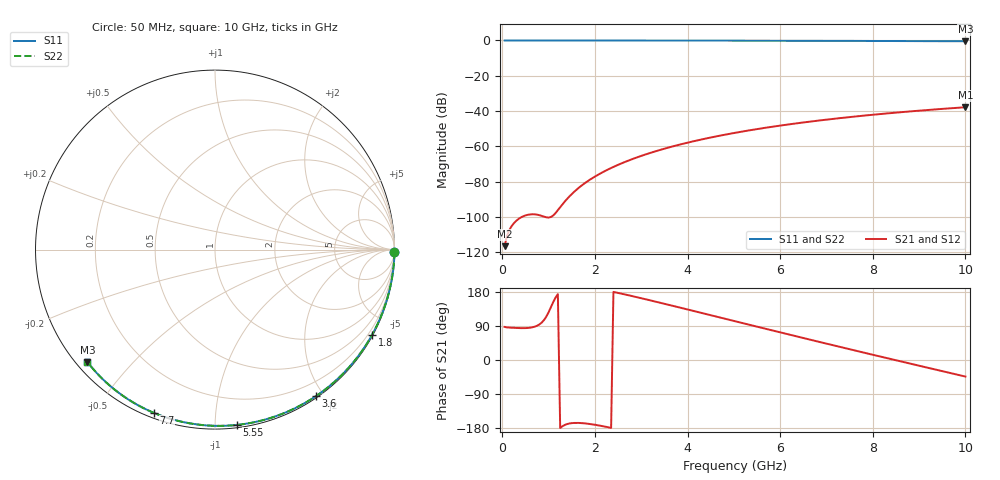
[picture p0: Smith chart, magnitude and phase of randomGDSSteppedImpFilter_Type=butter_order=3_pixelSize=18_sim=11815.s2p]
! freq	dB(S11)	phase(S11)	dB(S12)	phase(S12)
!  dB(S21)	phase(S21)	dB(S22)	phase(S22)
!S-par simulation data
#  GHz  S  DB  R 50
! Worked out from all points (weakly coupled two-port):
!   200 points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, 50 MHz to 10 GHz, reference 50 ohm
!   highest |S21| = -37.84 dB at 10 GHz (marker M1); lowest = -116.6 dB at 50 MHz (marker M2)
!   lowest |S11| = -0.5 dB at 10 GHz (marker M3), VSWR 36.93, Z = 1.55 - j18.9 ohm
!   |S11| at or under -10 dB: nowhere
!   |S22| runs from -0.5 to 0.0 dB; largest |S21 - S12| = 0
!   S11 on the Smith chart (normalised r, x): 50 MHz: open; 1.8 GHz: 0.03, -3.95; 3.6 GHz: 0.02, -1.90; 5.55 GHz: 0.02, -1.13; 7.7 GHz: 0.02, -0.69; 10 GHz: 0.03, -0.38
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0.05  -0.00 -0.8  -116.56 87.3  -116.56 87.3  -0.00 -0.8
0.45  -0.01 -7.2  -99.64 84.1  -99.64 84.1  -0.01 -7.2
0.9  -0.02 -14.4  -99.83 105.3  -99.83 105.3  -0.02 -14.4
1.75  -0.04 -27.7  -81.48 -166.9  -81.48 -166.9  -0.04 -27.7
1.8  -0.04 -28.4  -80.53 -167.5  -80.53 -167.5  -0.04 -28.4
1.85  -0.04 -29.2  -79.63 -168.2  -79.63 -168.2  -0.04 -29.2
2.05  -0.04 -32.3  -76.36 -172.0  -76.36 -172.0  -0.04 -32.3
2.25  -0.05 -35.4  -73.54 -176.5  -73.54 -176.5  -0.05 -35.4
2.55  -0.05 -39.9  -69.91 175.7  -69.91 175.7  -0.05 -39.9
2.95  -0.06 -45.9  -65.86 164.5  -65.86 164.5  -0.06 -45.9
3.4  -0.07 -52.6  -62.08 151.4  -62.08 151.4  -0.07 -52.6
3.6  -0.07 -55.5  -60.59 145.4  -60.59 145.4  -0.07 -55.5
3.9  -0.08 -59.9  -58.55 136.4  -58.55 136.4  -0.08 -59.9
4.3  -0.09 -65.6  -56.11 124.3  -56.11 124.3  -0.09 -65.6
5.05  -0.12 -76.0  -52.22 101.6  -52.22 101.6  -0.12 -76.0
5.55  -0.14 -82.8  -50.01 86.5  -50.01 86.5  -0.14 -82.8
6.1  -0.16 -90.2  -47.87 70.0  -47.87 70.0  -0.16 -90.2
6.7  -0.19 -97.9  -45.80 52.1  -45.80 52.1  -0.19 -97.9
7.7  -0.25 -110.6  -42.87 22.6  -42.87 22.6  -0.25 -110.6
8.35  -0.30 -118.6  -41.24 3.7  -41.24 3.7  -0.30 -118.6
9.2  -0.38 -129.0  -39.37 -20.8  -39.37 -20.8  -0.38 -129.0
10  -0.47 -138.6  -37.84 -43.7  -37.84 -43.7  -0.47 -138.6
